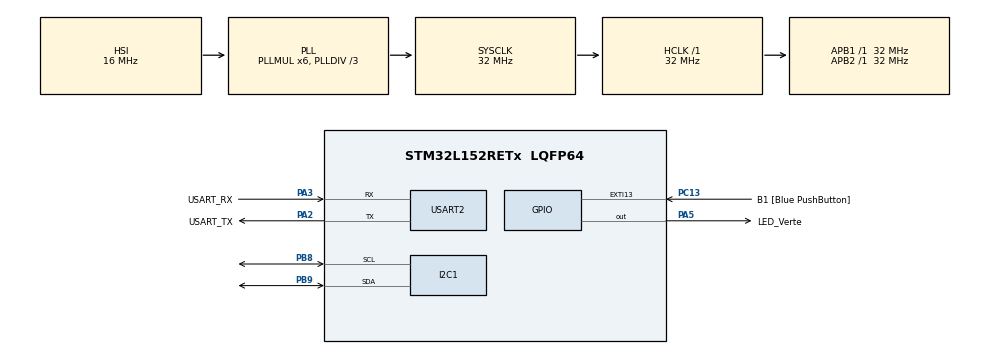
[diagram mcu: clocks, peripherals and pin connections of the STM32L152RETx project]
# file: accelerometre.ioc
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Mcu.Family=STM32L1
RCC.MSI_VALUE=2097000
PC15-OSC32_OUT.Mode=LSE-External-Oscillator
PH0-OSC_IN.Signal=RCC_OSC_IN
PA14.GPIO_Label=TCK
PC14-OSC32_IN.Signal=RCC_OSC32_IN
RCC.SYSCLKSource=RCC_SYSCLKSOURCE_PLLCLK
ProjectManager.StackSize=0x400
PA13.Signal=SYS_JTMS-SWDIO
PA3.Mode=Asynchronous
RCC.PLLDIV=RCC_PLL_DIV3
ProjectManager.TargetToolchain=STM32CubeIDE
RCC.HCLKFreq_Value=32000000
PC13-WKUP2.GPIO_Label=B1 [Blue PushButton]
PB9.Mode=I2C
RCC.APB2TimFreq_Value=32000000
PC15-OSC32_OUT.Signal=RCC_OSC32_OUT
RCC.AHBFreq_Value=32000000
PH0-OSC_IN.Mode=HSE-External-Clock-Source
PA5.Signal=GPIO_Output
RCC.HSE_VALUE=8000000
PC13-WKUP2.Signal=GPXTI13
board=NUCLEO-L152RE
RCC.VCOOutputFreq_Value=96000000
RCC.PLLMUL=RCC_PLL_MUL6
RCC.APB2Freq_Value=32000000
PC14-OSC32_IN.Mode=LSE-External-Oscillator
RCC.RTCClockSelectionVirtual=RCC_RTCCLKSOURCE_LSE
PA14.Mode=Serial_Wire
PH1-OSC_OUT.Signal=RCC_OSC_OUT
PA13.Mode=Serial_Wire
Mcu.Name=STM32L152RETx
PA2.Signal=USART2_TX
PA13.GPIO_Label=TMS
RCC.48MHZClocksFreq_Value=48000000
PB3.Signal=SYS_JTDO-TRACESWO
RCC.SYSCLKFreq_VALUE=32000000
Mcu.Package=LQFP64
PB9.Signal=I2C1_SDA
PA5.GPIO_Label=LED_Verte
USART2.VirtualMode=VM_ASYNC
RCC.USBOutput=48000000
PA2.GPIO_Label=USART_TX
PA14.Signal=SYS_JTCK-SWCLK
ProjectManager.HeapSize=0x200
RCC.HSI_VALUE=16000000
NVIC.PriorityGroup=NVIC_PRIORITYGROUP_0
PB8.Mode=I2C
RCC.APB1TimFreq_Value=32000000
PA2.Mode=Asynchronous
PB8.Signal=I2C1_SCL
RCC.APB1Freq_Value=32000000
PA3.GPIO_Label=USART_RX
PA3.Signal=USART2_RX
PB3.GPIO_Label=SWO

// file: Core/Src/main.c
/* USER CODE BEGIN Header */
/**
  ******************************************************************************
  * @file           : main.c
  * @brief          : Main program body
  ******************************************************************************
  * @attention
  *
  * <h2><center>&copy; Copyright (c) 2020 STMicroelectronics.
  * All rights reserved.</center></h2>
  *
  * This software component is licensed by ST under BSD 3-Clause license,
  * the "License"; You may not use this file except in compliance with the
  * License. You may obtain a copy of the License at:
  *                        opensource.org/licenses/BSD-3-Clause
  *
  ******************************************************************************
  */
/* USER CODE END Header */
#include "main.h"

/* USER CODE BEGIN PD */
#define LSM6DSL_ACC_ADDRESS 0xD4
#define LSM6DSL_WHO_AM_I 0x0F
#define Read 0x01
#define Write 0x00
#define ODR_ACC 0x10
#define OUTZ_H_XL 0x2D
#define OUTY_H_XL 0x2B
#define OUTX_H_XL 0x29

/* USER CODE END PD */

I2C_HandleTypeDef hi2c1;

UART_HandleTypeDef huart2;

void SystemClock_Config(void);
static void MX_GPIO_Init(void);
static void MX_USART2_UART_Init(void);
static void MX_I2C1_Init(void);

/* USER CODE BEGIN 0 */

uint8_t dataWhoAmI;
uint8_t pI2CData;
uint8_t data_Z;
uint8_t data_Y;
uint8_t data_X;
uint8_t odr_conf[2];
uint8_t ODR_add;

/* USER CODE END 0 */

int main(void)
{

  /* MCU Configuration--------------------------------------------------------*/

  /* Reset of all peripherals, Initializes the Flash interface and the Systick. */
  HAL_Init();

  /* Configure the system clock */
  SystemClock_Config();

  /* Initialize all configured peripherals */
  MX_GPIO_Init();
  MX_USART2_UART_Init();
  MX_I2C1_Init();
  /* USER CODE BEGIN 2 */
  pI2CData = LSM6DSL_WHO_AM_I;
  ODR_add = ODR_ACC;
  uint8_t OUTZ = OUTZ_H_XL;
  uint8_t OUTY = OUTY_H_XL;
  uint8_t OUTX = OUTX_H_XL;

  HAL_I2C_Master_Transmit(&hi2c1, LSM6DSL_ACC_ADDRESS|Write, &pI2CData, 1, 50);
  HAL_I2C_Master_Receive(&hi2c1, LSM6DSL_ACC_ADDRESS|Read, &dataWhoAmI, 1, 50);

  odr_conf[0]= ODR_ACC;
  odr_conf[1]= 0x80;

  HAL_I2C_Master_Transmit(&hi2c1, LSM6DSL_ACC_ADDRESS|Write, &odr_conf , 2, 50);

  /* USER CODE END 2 */

  /* Infinite loop */
  while (1)
  {

  }
}

void SystemClock_Config(void)
{
  RCC_OscInitTypeDef RCC_OscInitStruct = {0};
  RCC_ClkInitTypeDef RCC_ClkInitStruct = {0};

  /** Configure the main internal regulator output voltage
  */
  __HAL_PWR_VOLTAGESCALING_CONFIG(PWR_REGULATOR_VOLTAGE_SCALE1);
  /** Initializes the RCC Oscillators according to the specified parameters
  * in the RCC_OscInitTypeDef structure.
  */
  RCC_OscInitStruct.OscillatorType = RCC_OSCILLATORTYPE_HSI;
  RCC_OscInitStruct.HSIState = RCC_HSI_ON;
  RCC_OscInitStruct.HSICalibrationValue = RCC_HSICALIBRATION_DEFAULT;
  RCC_OscInitStruct.PLL.PLLState = RCC_PLL_ON;
  RCC_OscInitStruct.PLL.PLLSource = RCC_PLLSOURCE_HSI;
  RCC_OscInitStruct.PLL.PLLMUL = RCC_PLL_MUL6;
  RCC_OscInitStruct.PLL.PLLDIV = RCC_PLL_DIV3;
  if (HAL_RCC_OscConfig(&RCC_OscInitStruct) != HAL_OK)
  {
    Error_Handler();
  }
  /** Initializes the CPU, AHB and APB buses clocks
  */
  RCC_ClkInitStruct.ClockType = RCC_CLOCKTYPE_HCLK|RCC_CLOCKTYPE_SYSCLK
                              |RCC_CLOCKTYPE_PCLK1|RCC_CLOCKTYPE_PCLK2;
  RCC_ClkInitStruct.SYSCLKSource = RCC_SYSCLKSOURCE_PLLCLK;
  RCC_ClkInitStruct.AHBCLKDivider = RCC_SYSCLK_DIV1;
  RCC_ClkInitStruct.APB1CLKDivider = RCC_HCLK_DIV1;
  RCC_ClkInitStruct.APB2CLKDivider = RCC_HCLK_DIV1;

  if (HAL_RCC_ClockConfig(&RCC_ClkInitStruct, FLASH_LATENCY_1) != HAL_OK)
  {
    Error_Handler();
  }
}

static void MX_I2C1_Init(void)
{

  hi2c1.Instance = I2C1;
  hi2c1.Init.ClockSpeed = 100000;
  hi2c1.Init.DutyCycle = I2C_DUTYCYCLE_2;
  hi2c1.Init.OwnAddress1 = 0;
  hi2c1.Init.AddressingMode = I2C_ADDRESSINGMODE_7BIT;
  hi2c1.Init.DualAddressMode = I2C_DUALADDRESS_DISABLE;
  hi2c1.Init.OwnAddress2 = 0;
  hi2c1.Init.GeneralCallMode = I2C_GENERALCALL_DISABLE;
  hi2c1.Init.NoStretchMode = I2C_NOSTRETCH_DISABLE;
  if (HAL_I2C_Init(&hi2c1) != HAL_OK)
  {
    Error_Handler();
  }

}

static void MX_USART2_UART_Init(void)
{

  huart2.Instance = USART2;
  huart2.Init.BaudRate = 115200;
  huart2.Init.WordLength = UART_WORDLENGTH_8B;
  huart2.Init.StopBits = UART_STOPBITS_1;
  huart2.Init.Parity = UART_PARITY_NONE;
  huart2.Init.Mode = UART_MODE_TX_RX;
  huart2.Init.HwFlowCtl = UART_HWCONTROL_NONE;
  huart2.Init.OverSampling = UART_OVERSAMPLING_16;
  if (HAL_UART_Init(&huart2) != HAL_OK)
  {
    Error_Handler();
  }

}

static void MX_GPIO_Init(void)
{
  GPIO_InitTypeDef GPIO_InitStruct = {0};

  /* GPIO Ports Clock Enable */
  __HAL_RCC_GPIOC_CLK_ENABLE();
  __HAL_RCC_GPIOH_CLK_ENABLE();
  __HAL_RCC_GPIOA_CLK_ENABLE();
  __HAL_RCC_GPIOB_CLK_ENABLE();

  /*Configure GPIO pin Output Level */
  HAL_GPIO_WritePin(LED_Verte_GPIO_Port, LED_Verte_Pin, GPIO_PIN_RESET);

  /*Configure GPIO pin : B1_Pin */
  GPIO_InitStruct.Pin = B1_Pin;
  GPIO_InitStruct.Mode = GPIO_MODE_IT_RISING;
  GPIO_InitStruct.Pull = GPIO_NOPULL;
  HAL_GPIO_Init(B1_GPIO_Port, &GPIO_InitStruct);

  /*Configure GPIO pin : LED_Verte_Pin */
  GPIO_InitStruct.Pin = LED_Verte_Pin;
  GPIO_InitStruct.Mode = GPIO_MODE_OUTPUT_PP;
  GPIO_InitStruct.Pull = GPIO_NOPULL;
  GPIO_InitStruct.Speed = GPIO_SPEED_FREQ_LOW;
  HAL_GPIO_Init(LED_Verte_GPIO_Port, &GPIO_InitStruct);

}

void Error_Handler(void)
{
}

/************************ (C) COPYRIGHT STMicroelectronics *****END OF FILE****/
